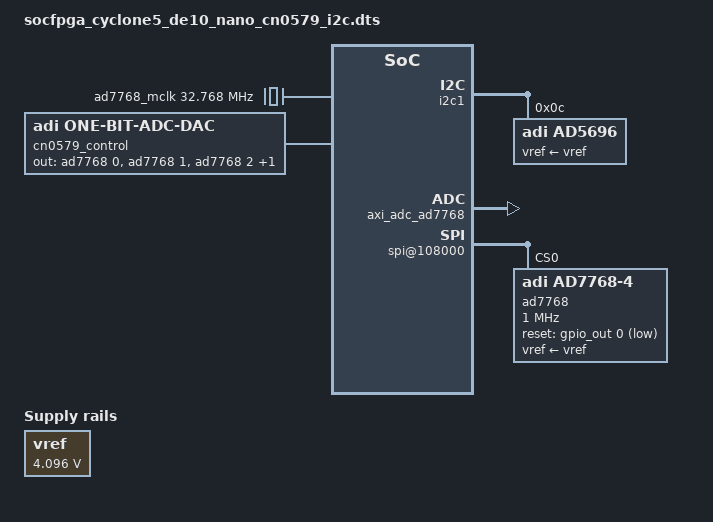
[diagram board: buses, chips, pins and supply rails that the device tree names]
// SPDX-License-Identifier: (GPL-2.0-only OR BSD-3-Clause)
/*
 * Analog Devices CN0579
 * https://www.analog.com/en/products/ad7768.html
 *
 * hdl_project: <cn0579/de10nano>
 * board_revision: <A>
 *
 * Copyright (C) 2023 Analog Devices Inc.
 */
#include "socfpga_cyclone5_de10_nano.dtsi"
#include <dt-bindings/interrupt-controller/irq.h>
#include <dt-bindings/gpio/gpio.h>

/ {
	vref: regulator-vref {
		compatible = "regulator-fixed";
		regulator-name = "fixed-supply";
		regulator-min-microvolt = <4096000>;
		regulator-max-microvolt = <4096000>;
		regulator-always-on;
	};

	clocks {
		ad7768_mclk: clock@0 {
		#clock-cells = <0>;
		compatible = "fixed-clock";
		clock-frequency = <32768000>;
		};
	};

	cn0579_control@0 {
		compatible = "adi,one-bit-adc-dac";
		#address-cells = <1>;
		#size-cells = <0>;

		out-gpios = <&ad7768 0 0>, <&ad7768 1 0>, <&ad7768 2 0>, <&ad7768 3 0>;
		label = "cn0579_control";

		channel@0 {
			reg = <0>;
			label = "CC_CH0";
		};

		channel@1 {
			reg = <1>;
			label = "CC_CH1";
		};

		channel@2 {
			reg = <2>;
			label = "CC_CH2";
		};

		channel@3 {
			reg = <3>;
			label = "CC_CH3";
		};
	};
};

&i2c1 {
	status = "okay";

	ad5696: dac@c {
		compatible = "adi,ad5696";
		reg = <0x0c>;
		vref-supply = <&vref>;
	   };
};

&fpga_axi {
	rx_dma: dma@28000 {
		compatible = "adi,axi-dmac-1.00.a";
		reg = <0x00028000 0x1000>;
		#dma-cells = <1>;
		interrupt-parent = <&intc>;
		interrupts = <0 45 IRQ_TYPE_LEVEL_HIGH>;
		clocks = <&h2f_user0_clk>;

		adi,channels {
			#size-cells = <0>;
			#address-cells = <1>;

			dma-channel@0 {
				reg = <0>;
				adi,source-bus-width = <128>;
				adi,source-bus-type = <2>;
				adi,destination-bus-width = <64>;
				adi,destination-bus-type = <0>;
			};
		};
	};

	axi_adc_ad7768: cf_axi_adc@30000 {
		compatible = "adi,axi-adc-10.0.a";
		reg = <0x00030000 0x10000>;
		dmas = <&rx_dma 0>;
		dma-names = "rx";
		spibus-connected = <&ad7768>;
	};

	spi@108000 {

		compatible = "altr,spi-18.1", "altr,spi-1.0";
		reg = <0x00108000 0x00000020>;
		interrupt-parent = <&intc>;
		interrupts = <0 41 IRQ_TYPE_LEVEL_HIGH>;
		#address-cells = <0x1>;
		#size-cells = <0x0>;

		ad7768: adc@0 {
			compatible = "adi,ad7768-4";
			reg = <0>;
			spi-max-frequency = <1000000>;
			reset-gpios = <&gpio_out 0 GPIO_ACTIVE_LOW>;
			vref-supply = <&vref>;
			clocks = <&ad7768_mclk>;
			clock-names = "mclk";
			adi,data-lines = <4>;
			gpio-controller;
			#gpio-cells = <2>;
		};
	};
};
